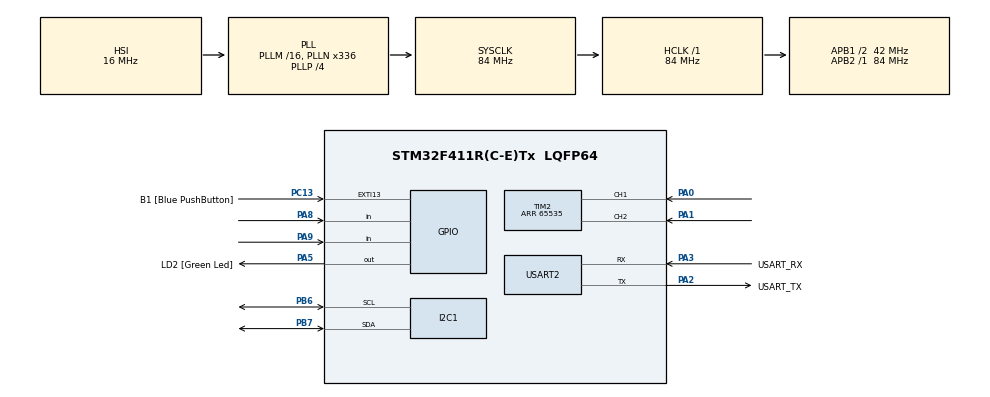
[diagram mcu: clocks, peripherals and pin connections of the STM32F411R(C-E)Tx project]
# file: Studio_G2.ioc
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Mcu.Family=STM32F4
Mcu.Name=STM32F411R(C-E)Tx
Mcu.Package=LQFP64
NVIC.I2C1_ER_IRQn=true\:0\:0\:false\:false\:true\:true\:true\:true
NVIC.I2C1_EV_IRQn=true\:0\:0\:false\:false\:true\:true\:true\:true
NVIC.PriorityGroup=NVIC_PRIORITYGROUP_0
PA0-WKUP.Signal=S_TIM2_CH1_ETR
PA1.Signal=S_TIM2_CH2
PA13.GPIO_Label=TMS
PA13.Mode=Serial_Wire
PA13.Signal=SYS_JTMS-SWDIO
PA14.GPIO_Label=TCK
PA14.Mode=Serial_Wire
PA14.Signal=SYS_JTCK-SWCLK
PA2.GPIO_Label=USART_TX
PA2.Mode=Asynchronous
PA2.Signal=USART2_TX
PA3.GPIO_Label=USART_RX
PA3.Mode=Asynchronous
PA3.Signal=USART2_RX
PA5.GPIO_Label=LD2 [Green Led]
PA5.Signal=GPIO_Output
PA8.Signal=GPIO_Input
PA9.Signal=GPIO_Input
PB3.GPIO_Label=SWO
PB3.Signal=SYS_JTDO-SWO
PB6.Mode=I2C
PB6.Signal=I2C1_SCL
PB7.Mode=I2C
PB7.Signal=I2C1_SDA
PC13-ANTI_TAMP.GPIO_Label=B1 [Blue PushButton]
PC13-ANTI_TAMP.GPIO_ModeDefaultEXTI=GPIO_MODE_IT_FALLING
PC13-ANTI_TAMP.Signal=GPXTI13
PC14-OSC32_IN.Mode=LSE-External-Oscillator
PC14-OSC32_IN.Signal=RCC_OSC32_IN
PC15-OSC32_OUT.Mode=LSE-External-Oscillator
PC15-OSC32_OUT.Signal=RCC_OSC32_OUT
PH0\ -\ OSC_IN.Mode=HSE-External-Oscillator
PH0\ -\ OSC_IN.Signal=RCC_OSC_IN
PH1\ -\ OSC_OUT.Mode=HSE-External-Oscillator
PH1\ -\ OSC_OUT.Signal=RCC_OSC_OUT
ProjectManager.HeapSize=0x200
ProjectManager.StackSize=0x400
ProjectManager.TargetToolchain=STM32CubeIDE
RCC.48MHZClocksFreq_Value=84000000
RCC.AHBFreq_Value=84000000
RCC.APB1CLKDivider=RCC_HCLK_DIV2
RCC.APB1Freq_Value=42000000
RCC.APB1TimFreq_Value=84000000
RCC.APB2Freq_Value=84000000
RCC.APB2TimFreq_Value=84000000
RCC.CortexFreq_Value=84000000
RCC.FLatency-AdvancedSettings=FLASH_LATENCY_2
RCC.HCLKFreq_Value=84000000
RCC.HSE_VALUE=8000000
RCC.HSI_VALUE=16000000
RCC.PLLN=336
RCC.PLLP=RCC_PLLP_DIV4
RCC.SYSCLKFreq_VALUE=84000000
RCC.SYSCLKSource=RCC_SYSCLKSOURCE_PLLCLK
RCC.VCOOutputFreq_Value=336000000
SH.S_TIM2_CH1_ETR.0=TIM2_CH1,Encoder_Interface
SH.S_TIM2_CH2.0=TIM2_CH2,Encoder_Interface
TIM2.AutoReloadPreload=TIM_AUTORELOAD_PRELOAD_ENABLE
TIM2.EncoderMode=TIM_ENCODERMODE_TI12
TIM2.IC1Filter=10
TIM2.Period=65535
USART2.VirtualMode=VM_ASYNC
board=NUCLEO-F411RE

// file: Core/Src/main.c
/* USER CODE BEGIN Header */
/**
  ******************************************************************************
  * @file           : main.c
  * @brief          : Main program body
  ******************************************************************************
  * @attention
  *
  * Copyright (c) 2023 STMicroelectronics.
  * All rights reserved.
  *
  * This software is licensed under terms that can be found in the LICENSE file
  * in the root directory of this software component.
  * If no LICENSE file comes with this software, it is provided AS-IS.
  *
  ******************************************************************************
  */
/* USER CODE END Header */
#include "main.h"

/* USER CODE BEGIN Includes */
#include <string.h>
#include <stdio.h>
/* USER CODE END Includes */

I2C_HandleTypeDef hi2c1;

TIM_HandleTypeDef htim2;

UART_HandleTypeDef huart2;

/* USER CODE BEGIN PV */

//LASER ADDRESSES & REGISTERS
const uint8_t LASER_ADDR_W = 0x23 << 1;
const uint8_t LASER_ADDR_R = (0x23 << 1) | 0x01;
const uint8_t LASER_ON_REG = 0x45;
const uint8_t LASER_READ_REG = 0x23;

uint16_t buf[12];				//bufferforcommswithLASER
uint16_t ee_state_buf[10];		//bufferforLASERstatus

static int mode = 0;			//mode = {Manual, Automatic}
static int frmode = 0;			//Manual joystick mode = {Fine, Rough}

static uint32_t counter = 0;	//for encoder reading process
static int16_t count = 0;		//count value from encoder

int joy_a,joy_b,joy_dir;

/* USER CODE END PV */

void SystemClock_Config(void);
static void MX_GPIO_Init(void);
static void MX_USART2_UART_Init(void);
static void MX_I2C1_Init(void);
static void MX_TIM2_Init(void);
/* USER CODE BEGIN PFP */
void laser_on(); //70%
void laser_state_read(); //70%

void drive_y();

void write_gp_x(int x_pos);
void write_feedback();
void read_enc();
void enc_2_spd();
void spd_2_acl();

/* USER CODE END PFP */

int main(void)
{

  /* MCU Configuration--------------------------------------------------------*/

  /* Reset of all peripherals, Initializes the Flash interface and the Systick. */
  HAL_Init();

  /* Configure the system clock */
  SystemClock_Config();

  /* Initialize all configured peripherals */
  MX_GPIO_Init();
  MX_USART2_UART_Init();
  MX_I2C1_Init();
  MX_TIM2_Init();
  /* USER CODE BEGIN 2 */

  HAL_TIM_Encoder_Start_IT(&htim2, TIM_CHANNEL_ALL);

  /* USER CODE END 2 */

  /* Infinite loop */
  while (1)
  {

    /* USER CODE BEGIN 3 */
	  //Input Management
	  joy_a = HAL_GPIO_ReadPin(GPIOA, GPIO_PIN_8);
	  joy_b = HAL_GPIO_ReadPin(GPIOA, GPIO_PIN_9);

	  if		(joy_a == 1 && joy_b == 1)	{joy_dir = 0;}
	  else if	(joy_a == 1 && joy_b == 0)	{joy_dir = 1;}
	  else if	(joy_a == 0 && joy_b == 1)	{joy_dir = 2;}		// CHECK FOR JOYSTICK DIRECTION
	  else if	(joy_a == 0 && joy_b == 0)	{joy_dir = 3;}

	  switch(mode){
	  case 0 : // manual
		  switch(frmode){
		  case 0 : // rough
			  switch(joy_dir){
			  case 0 : // W
				  break;
			  case 1 : // A
				  break;
			  case 2 : // S
				  break;
			  case 3 : // D
				  break;
			  }
			  break;
		  case 1 : // fine
			  switch(joy_dir){
			  case 0 : // W
				  break;
			  case 1 : // A
				  break;
			  case 2 : // S
				  break;
			  case 3 : // D
				  break;
			  }
			  break;
		  }
		  break;
	  case 1 : // Auto

		  break;
	  }
  }
  /* USER CODE END 3 */
}

void SystemClock_Config(void)
{
  RCC_OscInitTypeDef RCC_OscInitStruct = {0};
  RCC_ClkInitTypeDef RCC_ClkInitStruct = {0};

  /** Configure the main internal regulator output voltage
  */
  __HAL_RCC_PWR_CLK_ENABLE();
  __HAL_PWR_VOLTAGESCALING_CONFIG(PWR_REGULATOR_VOLTAGE_SCALE1);

  /** Initializes the RCC Oscillators according to the specified parameters
  * in the RCC_OscInitTypeDef structure.
  */
  RCC_OscInitStruct.OscillatorType = RCC_OSCILLATORTYPE_HSI;
  RCC_OscInitStruct.HSIState = RCC_HSI_ON;
  RCC_OscInitStruct.HSICalibrationValue = RCC_HSICALIBRATION_DEFAULT;
  RCC_OscInitStruct.PLL.PLLState = RCC_PLL_ON;
  RCC_OscInitStruct.PLL.PLLSource = RCC_PLLSOURCE_HSI;
  RCC_OscInitStruct.PLL.PLLM = 16;
  RCC_OscInitStruct.PLL.PLLN = 336;
  RCC_OscInitStruct.PLL.PLLP = RCC_PLLP_DIV4;
  RCC_OscInitStruct.PLL.PLLQ = 4;
  if (HAL_RCC_OscConfig(&RCC_OscInitStruct) != HAL_OK)
  {
    Error_Handler();
  }

  /** Initializes the CPU, AHB and APB buses clocks
  */
  RCC_ClkInitStruct.ClockType = RCC_CLOCKTYPE_HCLK|RCC_CLOCKTYPE_SYSCLK
                              |RCC_CLOCKTYPE_PCLK1|RCC_CLOCKTYPE_PCLK2;
  RCC_ClkInitStruct.SYSCLKSource = RCC_SYSCLKSOURCE_PLLCLK;
  RCC_ClkInitStruct.AHBCLKDivider = RCC_SYSCLK_DIV1;
  RCC_ClkInitStruct.APB1CLKDivider = RCC_HCLK_DIV2;
  RCC_ClkInitStruct.APB2CLKDivider = RCC_HCLK_DIV1;

  if (HAL_RCC_ClockConfig(&RCC_ClkInitStruct, FLASH_LATENCY_2) != HAL_OK)
  {
    Error_Handler();
  }
}

static void MX_I2C1_Init(void)
{

  hi2c1.Instance = I2C1;
  hi2c1.Init.ClockSpeed = 100000;
  hi2c1.Init.DutyCycle = I2C_DUTYCYCLE_2;
  hi2c1.Init.OwnAddress1 = 0;
  hi2c1.Init.AddressingMode = I2C_ADDRESSINGMODE_7BIT;
  hi2c1.Init.DualAddressMode = I2C_DUALADDRESS_DISABLE;
  hi2c1.Init.OwnAddress2 = 0;
  hi2c1.Init.GeneralCallMode = I2C_GENERALCALL_DISABLE;
  hi2c1.Init.NoStretchMode = I2C_NOSTRETCH_DISABLE;
  if (HAL_I2C_Init(&hi2c1) != HAL_OK)
  {
    Error_Handler();
  }

}

static void MX_TIM2_Init(void)
{

  TIM_Encoder_InitTypeDef sConfig = {0};
  TIM_MasterConfigTypeDef sMasterConfig = {0};

  htim2.Instance = TIM2;
  htim2.Init.Prescaler = 0;
  htim2.Init.CounterMode = TIM_COUNTERMODE_UP;
  htim2.Init.Period = 65535;
  htim2.Init.ClockDivision = TIM_CLOCKDIVISION_DIV1;
  htim2.Init.AutoReloadPreload = TIM_AUTORELOAD_PRELOAD_ENABLE;
  sConfig.EncoderMode = TIM_ENCODERMODE_TI12;
  sConfig.IC1Polarity = TIM_ICPOLARITY_RISING;
  sConfig.IC1Selection = TIM_ICSELECTION_DIRECTTI;
  sConfig.IC1Prescaler = TIM_ICPSC_DIV1;
  sConfig.IC1Filter = 10;
  sConfig.IC2Polarity = TIM_ICPOLARITY_RISING;
  sConfig.IC2Selection = TIM_ICSELECTION_DIRECTTI;
  sConfig.IC2Prescaler = TIM_ICPSC_DIV1;
  sConfig.IC2Filter = 0;
  if (HAL_TIM_Encoder_Init(&htim2, &sConfig) != HAL_OK)
  {
    Error_Handler();
  }
  sMasterConfig.MasterOutputTrigger = TIM_TRGO_RESET;
  sMasterConfig.MasterSlaveMode = TIM_MASTERSLAVEMODE_DISABLE;
  if (HAL_TIMEx_MasterConfigSynchronization(&htim2, &sMasterConfig) != HAL_OK)
  {
    Error_Handler();
  }

}

static void MX_USART2_UART_Init(void)
{

  huart2.Instance = USART2;
  huart2.Init.BaudRate = 115200;
  huart2.Init.WordLength = UART_WORDLENGTH_8B;
  huart2.Init.StopBits = UART_STOPBITS_1;
  huart2.Init.Parity = UART_PARITY_NONE;
  huart2.Init.Mode = UART_MODE_TX_RX;
  huart2.Init.HwFlowCtl = UART_HWCONTROL_NONE;
  huart2.Init.OverSampling = UART_OVERSAMPLING_16;
  if (HAL_UART_Init(&huart2) != HAL_OK)
  {
    Error_Handler();
  }

}

static void MX_GPIO_Init(void)
{
  GPIO_InitTypeDef GPIO_InitStruct = {0};

  /* GPIO Ports Clock Enable */
  __HAL_RCC_GPIOC_CLK_ENABLE();
  __HAL_RCC_GPIOH_CLK_ENABLE();
  __HAL_RCC_GPIOA_CLK_ENABLE();
  __HAL_RCC_GPIOB_CLK_ENABLE();

  /*Configure GPIO pin Output Level */
  HAL_GPIO_WritePin(LD2_GPIO_Port, LD2_Pin, GPIO_PIN_RESET);

  /*Configure GPIO pin : B1_Pin */
  GPIO_InitStruct.Pin = B1_Pin;
  GPIO_InitStruct.Mode = GPIO_MODE_IT_FALLING;
  GPIO_InitStruct.Pull = GPIO_NOPULL;
  HAL_GPIO_Init(B1_GPIO_Port, &GPIO_InitStruct);

  /*Configure GPIO pin : LD2_Pin */
  GPIO_InitStruct.Pin = LD2_Pin;
  GPIO_InitStruct.Mode = GPIO_MODE_OUTPUT_PP;
  GPIO_InitStruct.Pull = GPIO_NOPULL;
  GPIO_InitStruct.Speed = GPIO_SPEED_FREQ_LOW;
  HAL_GPIO_Init(LD2_GPIO_Port, &GPIO_InitStruct);

  /*Configure GPIO pins : PA8 PA9 */
  GPIO_InitStruct.Pin = GPIO_PIN_8|GPIO_PIN_9;
  GPIO_InitStruct.Mode = GPIO_MODE_INPUT;
  GPIO_InitStruct.Pull = GPIO_NOPULL;
  HAL_GPIO_Init(GPIOA, &GPIO_InitStruct);

}

/* USER CODE BEGIN 4 */

void laser_on(){
	HAL_StatusTypeDef status_;
	buf[0] = LASER_ON_REG;
	status_ = HAL_I2C_Master_Transmit(&hi2c1, LASER_ADDR_W, buf, 1, 10);
	if ( status_ != HAL_OK ) {
		strcpy((char*)buf, "Error Tx\r\n");
	}
}

void laser_state_read(){
	HAL_StatusTypeDef status_;
	buf[0] = LASER_READ_REG;
	status_ = HAL_I2C_Master_Transmit(&hi2c1, LASER_ADDR_W, buf, 1, 10);
	if ( status_ != HAL_OK ) {
		strcpy((char*)buf, "Error Tx\r\n");
	}
	else {
		status_ = HAL_I2C_Master_Receive(&hi2c1, LASER_ADDR_R, ee_state_buf, 1, 10);
		if ( status_ != HAL_OK ) {
			strcpy((char*)buf, "Error Rx\r\n");
		}
	}
}

void HAL_TIM_IC_CaptureCallback(TIM_HandleTypeDef *htim)
{
	counter = __HAL_TIM_GET_COUNTER(htim);
	count = (int16_t)counter;
}

/* USER CODE END 4 */

void Error_Handler(void)
{
  __disable_irq();
  while (1)
  {
  }
}
